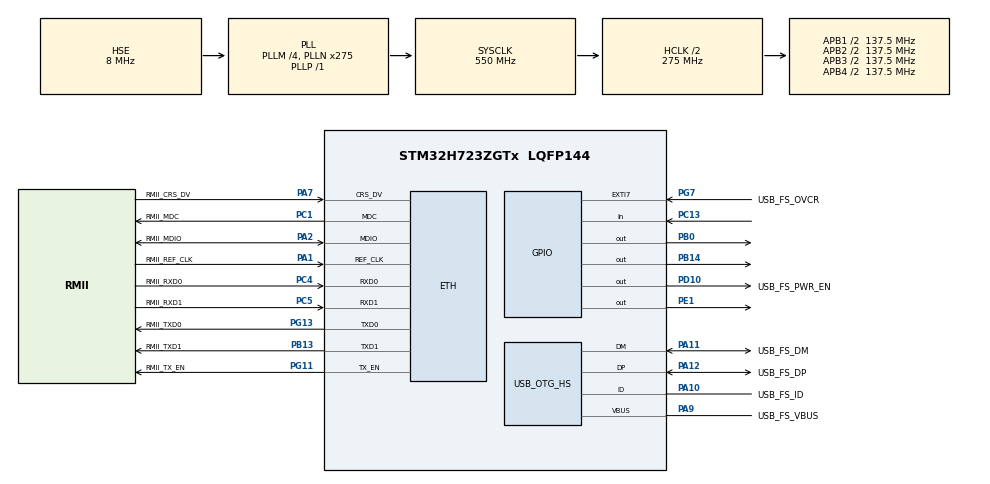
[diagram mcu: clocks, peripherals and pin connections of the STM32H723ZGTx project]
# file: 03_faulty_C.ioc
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CORTEX_M7.AccessPermission_S-Cortex_Memory_Protection_Unit_Region1_Settings_S=MPU_REGION_FULL_ACCESS
CORTEX_M7.AccessPermission_S-Cortex_Memory_Protection_Unit_Region2_Settings_S=MPU_REGION_FULL_ACCESS
CORTEX_M7.BaseAddress_S-Cortex_Memory_Protection_Unit_Region1_Settings_S=0x30000000
CORTEX_M7.BaseAddress_S-Cortex_Memory_Protection_Unit_Region2_Settings_S=0x30000000
CORTEX_M7.CPU_DCache=Enabled
CORTEX_M7.CPU_ICache=Enabled
CORTEX_M7.DisableExec_S-Cortex_Memory_Protection_Unit_Region1_Settings_S=MPU_INSTRUCTION_ACCESS_DISABLE
CORTEX_M7.DisableExec_S-Cortex_Memory_Protection_Unit_Region2_Settings_S=MPU_INSTRUCTION_ACCESS_DISABLE
CORTEX_M7.Enable_S-Cortex_Memory_Protection_Unit_Region1_Settings_S=MPU_REGION_ENABLE
CORTEX_M7.Enable_S-Cortex_Memory_Protection_Unit_Region2_Settings_S=MPU_REGION_ENABLE
CORTEX_M7.IsBufferable_S-Cortex_Memory_Protection_Unit_Region1_Settings_S=MPU_ACCESS_NOT_BUFFERABLE
CORTEX_M7.IsBufferable_S-Cortex_Memory_Protection_Unit_Region2_Settings_S=MPU_ACCESS_BUFFERABLE
CORTEX_M7.IsCacheable_S-Cortex_Memory_Protection_Unit_Region1_Settings_S=MPU_ACCESS_NOT_CACHEABLE
CORTEX_M7.IsCacheable_S-Cortex_Memory_Protection_Unit_Region2_Settings_S=MPU_ACCESS_NOT_CACHEABLE
CORTEX_M7.IsShareable_S-Cortex_Memory_Protection_Unit_Region1_Settings_S=MPU_ACCESS_NOT_SHAREABLE
CORTEX_M7.IsShareable_S-Cortex_Memory_Protection_Unit_Region2_Settings_S=MPU_ACCESS_SHAREABLE
CORTEX_M7.Size_S-Cortex_Memory_Protection_Unit_Region1_Settings_S=MPU_REGION_SIZE_32KB
CORTEX_M7.Size_S-Cortex_Memory_Protection_Unit_Region2_Settings_S=MPU_REGION_SIZE_1KB
CORTEX_M7.TypeExtField_S-Cortex_Memory_Protection_Unit_Region1_Settings_S=MPU_TEX_LEVEL1
CORTEX_M7.TypeExtField_S-Cortex_Memory_Protection_Unit_Region2_Settings_S=MPU_TEX_LEVEL0
CORTEX_M7.default_mode_Activation=1
DTS.SamplingTime=DTS_SMP_TIME_15_CYCLE
ETH.MACAddr=02\:00\:00\:11\:22\:33
ETH.MediaInterface=HAL_ETH_RMII_MODE
ETH.RxBufferAddress=0x30000400
ETH.RxBuffLen=1536
ETH.RxDescAddress=0x30000000
ETH.TxDescAddress=0x30000200
FREERTOS.Tasks01=defaultTask,24,1024,StartDefaultTask,Default,NULL,Dynamic,NULL,NULL
FREERTOS.configCHECK_FOR_STACK_OVERFLOW=2
FREERTOS.configMINIMAL_STACK_SIZE=256
FREERTOS.configTOTAL_HEAP_SIZE=48*1024
FREERTOS.configUSE_NEWLIB_REENTRANT=1
LWIP.BSP.number=1
LWIP.CHECKSUM_BY_HARDWARE=1
LWIP.DEFAULT_THREAD_STACKSIZE=1024
LWIP.GATEWAY_ADDRESS=192.168.077.001
LWIP.HTTPD_USE_CUSTOM_FSDATA=1
LWIP.IP_ADDRESS=192.168.077.020
LWIP.LWIP_DHCP=0
LWIP.LWIP_HTTPD=1
LWIP.LWIP_HTTPD_CGI=1
LWIP.LWIP_HTTPD_DYNAMIC_HEADERS=1
LWIP.LWIP_HTTPD_SSI=1
LWIP.LWIP_NETIF_LINK_CALLBACK=1
LWIP.LWIP_RAM_HEAP_POINTER=0x30005400
LWIP.LWIP_STATS=1
LWIP.MEM_SIZE=10240
LWIP.NETMASK_ADDRESS=255.255.255.000
LWIP.TCPIP_THREAD_STACKSIZE=2048
LWIP.TCP_MSS=1460
LWIP.TCP_SND_BUF=5840
LWIP.TCP_SND_QUEUELEN=16
LWIP.TCP_WND=5840
LWIP.Version=v2.2.1_Cube
LWIP0.BSP.STBoard=false
LWIP0.BSP.api=BSP_COMPONENT_DRIVER
LWIP0.BSP.component=LAN8742
LWIP0.BSP.instance=LAN8742
LWIP0.BSP.name=Driver_PHY
LWIP0.BSP.semaphore=S_LAN8742
LWIP0.BSP.solution=LAN8742
Mcu.Family=STM32H7
Mcu.Name=STM32H723ZGTx
Mcu.Package=LQFP144
NUCLEO-H723ZG.BUTTON=1
NUCLEO-H723ZG.LD1=true
NUCLEO-H723ZG.LD2=true
NUCLEO-H723ZG.LD3=true
NUCLEO-H723ZG.VCP=true
NVIC.ETH_IRQn=true\:5\:0\:false\:false\:true\:true\:true\:true\:true
NVIC.EXTI15_10_IRQn=true\:5\:0\:false\:false\:true\:false\:true\:true\:true
NVIC.PriorityGroup=NVIC_PRIORITYGROUP_4
NVIC.TIM6_DAC_IRQn=true\:15\:0\:false\:false\:true\:false\:false\:true\:true
NVIC.TimeBase=TIM6_DAC_IRQn
NVIC.TimeBaseIP=TIM6
PA1.GPIO_Label=RMII_REF_CLK
PA1.GPIO_Speed=GPIO_SPEED_FREQ_VERY_HIGH
PA1.Mode=RMII
PA1.Signal=ETH_REF_CLK
PA10.GPIO_Label=USB_FS_ID
PA10.Mode=OTG/Dual_Role_Device_FS
PA10.Signal=USB_OTG_HS_ID
PA11.GPIO_Label=USB_FS_DM
PA11.Mode=OTG/Dual_Role_Device_FS
PA11.Signal=USB_OTG_HS_DM
PA12.GPIO_Label=USB_FS_DP
PA12.Mode=OTG/Dual_Role_Device_FS
PA12.Signal=USB_OTG_HS_DP
PA13(JTMS/SWDIO).GPIO_Label=SWDIO
PA13(JTMS/SWDIO).Mode=Trace_Asynchronous_SW
PA13(JTMS/SWDIO).Signal=DEBUG_JTMS-SWDIO
PA14(JTCK/SWCLK).GPIO_Label=SWCLK
PA14(JTCK/SWCLK).Mode=Trace_Asynchronous_SW
PA14(JTCK/SWCLK).Signal=DEBUG_JTCK-SWCLK
PA2.GPIO_Label=RMII_MDIO
PA2.GPIO_Speed=GPIO_SPEED_FREQ_VERY_HIGH
PA2.Mode=RMII
PA2.Signal=ETH_MDIO
PA7.GPIO_Label=RMII_CRS_DV
PA7.GPIO_Speed=GPIO_SPEED_FREQ_VERY_HIGH
PA7.Mode=RMII
PA7.Signal=ETH_CRS_DV
PA9.GPIO_Label=USB_FS_VBUS
PA9.Mode=Activate_VBUS_FS
PA9.Signal=USB_OTG_HS_VBUS
PB0.Signal=GPIO_Output
PB13.GPIO_Label=RMII_TXD1
PB13.GPIO_Speed=GPIO_SPEED_FREQ_VERY_HIGH
PB13.Mode=RMII
PB13.Signal=ETH_TXD1
PB14.Signal=GPIO_Output
PB3(JTDO/TRACESWO).GPIO_Label=SWO
PB3(JTDO/TRACESWO).Mode=Trace_Asynchronous_SW
PB3(JTDO/TRACESWO).Signal=DEBUG_JTDO-SWO
PC1.GPIO_Label=RMII_MDC
PC1.GPIO_Speed=GPIO_SPEED_FREQ_VERY_HIGH
PC1.Mode=RMII
PC1.Signal=ETH_MDC
PC13.Signal=GPIO_Input
PC14-OSC32_IN.Mode=LSE-External-Oscillator
PC14-OSC32_IN.Signal=RCC_OSC32_IN
PC15-OSC32_OUT.Mode=LSE-External-Oscillator
PC15-OSC32_OUT.Signal=RCC_OSC32_OUT
PC4.GPIO_Label=RMII_RXD0
PC4.GPIO_Speed=GPIO_SPEED_FREQ_VERY_HIGH
PC4.Mode=RMII
PC4.Signal=ETH_RXD0
PC5.GPIO_Label=RMII_RXD1
PC5.GPIO_Speed=GPIO_SPEED_FREQ_VERY_HIGH
PC5.Mode=RMII
PC5.Signal=ETH_RXD1
PD10.GPIO_Label=USB_FS_PWR_EN
PD10.Signal=GPIO_Output
PD8.Signal=USART3_TX
PD9.Signal=USART3_RX
PE1.Signal=GPIO_Output
PG11.GPIO_Label=RMII_TX_EN
PG11.GPIO_Speed=GPIO_SPEED_FREQ_VERY_HIGH
PG11.Mode=RMII
PG11.Signal=ETH_TX_EN
PG13.GPIO_Label=RMII_TXD0
PG13.GPIO_Speed=GPIO_SPEED_FREQ_VERY_HIGH
PG13.Mode=RMII
PG13.Signal=ETH_TXD0
PG7.GPIO_Label=USB_FS_OVCR
PG7.Signal=GPXTI7
PH0-OSC_IN.GPIO_Label=MCO
PH0-OSC_IN.Mode=HSE-External-Clock-Source
PH0-OSC_IN.Signal=RCC_OSC_IN
PH1-OSC_OUT.Signal=RCC_OSC_OUT
ProjectManager.HeapSize=0x1000
ProjectManager.StackSize=0x1000
ProjectManager.TargetToolchain=STM32CubeIDE
RCC.ADCFreq_Value=76000000
RCC.APB1Freq_Value=137500000
RCC.APB2Freq_Value=137500000
RCC.APB3Freq_Value=137500000
RCC.APB4Freq_Value=137500000
RCC.CortexFreq_Value=550000000
RCC.D1PPRE=RCC_APB3_DIV2
RCC.D2PPRE1=RCC_APB1_DIV2
RCC.D2PPRE2=RCC_APB2_DIV2
RCC.D3PPRE=RCC_APB4_DIV2
RCC.DIVM1=4
RCC.DIVM2=1
RCC.DIVN1=275
RCC.DIVN2=19
RCC.DIVP1=1
RCC.DIVQ1=4
RCC.HCLKFreq_Value=275000000
RCC.HPRE=RCC_HCLK_DIV2
RCC.HSE_VALUE=8000000
RCC.PLLFRACN=0
RCC.PLLSourceVirtual=RCC_PLLSOURCE_HSE
RCC.SYSCLKFreq_VALUE=550000000
RCC.SYSCLKSource=RCC_SYSCLKSOURCE_PLLCLK
RCC.USBCLockSelection=RCC_USBCLKSOURCE_HSI48
RCC.USBFreq_Value=48000000
USB_OTG_HS.VirtualMode-OTG/Dual_Role_Device_FS=Device_Role_Device_FS
VP_DTS_VS-DTS.Mode=DTS
VP_FREERTOS_VS_CMSIS_V2.Mode=CMSIS_V2
VP_LWIP_VS_Enabled.Mode=Enabled
VP_NUCLEO-H723ZG_VS_BSP_COMMON.Mode=COMMON
VP_SYS_VS_tim6.Mode=TIM6
board=NUCLEO-H723ZG

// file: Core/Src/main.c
/* USER CODE BEGIN Header */
/**
  ******************************************************************************
  * @file           : main.c
  * @brief          : Main program body
  ******************************************************************************
  * @attention
  *
  * Copyright (c) 2026 STMicroelectronics.
  * All rights reserved.
  *
  * This software is licensed under terms that can be found in the LICENSE file
  * in the root directory of this software component.
  * If no LICENSE file comes with this software, it is provided AS-IS.
  *
  ******************************************************************************
  */
/* USER CODE END Header */
#include "main.h"
#include "FreeRTOS.h"
#include "cmsis_os2.h"
#include "lwip.h"

/* USER CODE BEGIN Includes */
#include <stdio.h>
#include <string.h>
#include "app_rtos.h"
#include "lwip/netif.h"
#include "lwip/stats.h"
#include "lwip/memp.h"
#include "ethernetif.h"
/* USER CODE END Includes */

COM_InitTypeDef BspCOMInit;

DTS_HandleTypeDef hdts;

PCD_HandleTypeDef hpcd_USB_OTG_HS;

/* Definitions for defaultTask */
osThreadId_t defaultTaskHandle;
const osThreadAttr_t defaultTask_attributes = {
  .name = "defaultTask",
  .stack_size = 1024 * 4,
  .priority = (osPriority_t) osPriorityNormal,
};
/* USER CODE BEGIN PV */
static volatile uint8_t led_manual;     /* CGI 'LED ON/OFF'를 받으면 1 → LD1 점멸 중지 */
static volatile uint8_t stat_req;       /* USER 버튼(B1) → 진단 정보 출력 */
extern ETH_HandleTypeDef heth;          /* ethernetif.c */
extern struct netif gnetif;             /* lwip.c */
extern const struct memp_desc memp_RX_POOL;   /* ethernetif.c: LWIP_MEMPOOL_DECLARE(RX_POOL, ...) */
/* USER CODE END PV */

void SystemClock_Config(void);
static void MPU_Config(void);
static void MX_GPIO_Init(void);
static void MX_USB_OTG_HS_PCD_Init(void);
static void MX_DTS_Init(void);
void StartDefaultTask(void *argument);

/* USER CODE BEGIN 0 */
int32_t read_temp_mC(void)
{
  int32_t t = 0;
  if (HAL_DTS_GetTemperature(&hdts, &t) != HAL_OK) { return INT32_MIN; }
  return t * 1000;
}

void app_led(uint8_t on)
{
  led_manual = 1U;
  if (on) { BSP_LED_On(LED_GREEN); } else { BSP_LED_Off(LED_GREEN); }
}

int app_link_str(char *out, size_t len)
{
  ETH_MACConfigTypeDef mc;
  if (!netif_is_link_up(&gnetif)) { return snprintf(out, len, "DOWN"); }
  HAL_ETH_GetMACConfig(&heth, &mc);
  return snprintf(out, len, "%s%s", (mc.Speed == ETH_SPEED_100M) ? "100" : "10",
                  (mc.DuplexMode == ETH_FULLDUPLEX_MODE) ? "F" : "H");
}

void BSP_PB_Callback(Button_TypeDef Button)
{
  if (Button == BUTTON_USER) { stat_req = 1U; }
}

/* 결함 진단용: 이론 4 '레지스터 5개' + lwIP 통계 */
static void print_diag(void)
{
  uint32_t csr = ETH->DMACSR, dsr = ETH->DMADSR;
  printf("--- diag @%lus ---\r\n", (unsigned long)(HAL_GetTick() / 1000U));
  printf("ETH_DMACSR=0x%08lX (RI=%lu RBU=%lu FBE=%lu)  ETH_DMADSR=0x%08lX (RPS0=%lu TPS0=%lu)\r\n",
         csr, (csr >> 6) & 1U, (csr >> 7) & 1U, (csr >> 12) & 1U, dsr, (dsr >> 8) & 0xFU, (dsr >> 12) & 0xFU);
  printf("ETH_MACCR=0x%08lX (FES=%lu DM=%lu)\r\n", ETH->MACCR, (ETH->MACCR >> 14) & 1U, (ETH->MACCR >> 13) & 1U);
#if MEMP_STATS
  printf("RX_POOL used=%u/%u err=%u   NETBUF used=%u err=%u\r\n",
         (unsigned)memp_RX_POOL.stats->used, (unsigned)memp_RX_POOL.num, (unsigned)memp_RX_POOL.stats->err,
         (unsigned)lwip_stats.memp[MEMP_NETBUF]->used, (unsigned)lwip_stats.memp[MEMP_NETBUF]->err);
#endif
#if MEM_STATS
  printf("heap used=%u max=%u err=%u (MEM_SIZE %u @0x%08lX)\r\n", (unsigned)lwip_stats.mem.used,
         (unsigned)lwip_stats.mem.max, (unsigned)lwip_stats.mem.err, (unsigned)MEM_SIZE,
         (unsigned long)LWIP_RAM_HEAP_POINTER);
#endif
  printf("FreeRTOS heap free=%u (min %u)\r\n", (unsigned)xPortGetFreeHeapSize(),
         (unsigned)xPortGetMinimumEverFreeHeapSize());
}
/* USER CODE END 0 */

int main(void)
{

  /* MPU Configuration--------------------------------------------------------*/
  MPU_Config();

  /* Enable the CPU Cache */

  /* Enable I-Cache---------------------------------------------------------*/
  SCB_EnableICache();

  /* Enable D-Cache---------------------------------------------------------*/
  SCB_EnableDCache();

  /* MCU Configuration--------------------------------------------------------*/

  /* Reset of all peripherals, Initializes the Flash interface and the Systick. */
  HAL_Init();

  /* Configure the system clock */
  SystemClock_Config();

  /* Initialize all configured peripherals */
  MX_GPIO_Init();
  MX_USB_OTG_HS_PCD_Init();
  MX_DTS_Init();

  /* Init scheduler */
  osKernelInitialize();

  /* Create the thread(s) */
  /* creation of defaultTask */
  defaultTaskHandle = osThreadNew(StartDefaultTask, NULL, &defaultTask_attributes);

  /* Initialize leds */
  BSP_LED_Init(LED_GREEN);
  BSP_LED_Init(LED_YELLOW);
  BSP_LED_Init(LED_RED);

  /* Initialize USER push-button, will be used to trigger an interrupt each time it's pressed.*/
  BSP_PB_Init(BUTTON_USER, BUTTON_MODE_EXTI);

  /* Initialize COM1 port (115200, 8 bits (7-bit data + 1 stop bit), no parity */
  BspCOMInit.BaudRate   = 115200;
  BspCOMInit.WordLength = COM_WORDLENGTH_8B;
  BspCOMInit.StopBits   = COM_STOPBITS_1;
  BspCOMInit.Parity     = COM_PARITY_NONE;
  BspCOMInit.HwFlowCtl  = COM_HWCONTROL_NONE;
  if (BSP_COM_Init(COM1, &BspCOMInit) != BSP_ERROR_NONE)
  {
    Error_Handler();
  }

  /* Start scheduler */
  osKernelStart();

  /* We should never get here as control is now taken by the scheduler */

  /* Infinite loop */
  while (1)
  {

  }
}

void SystemClock_Config(void)
{
  RCC_OscInitTypeDef RCC_OscInitStruct = {0};
  RCC_ClkInitTypeDef RCC_ClkInitStruct = {0};

  /** Supply configuration update enable
  */
  HAL_PWREx_ConfigSupply(PWR_LDO_SUPPLY);

  /** Configure the main internal regulator output voltage
  */
  __HAL_PWR_VOLTAGESCALING_CONFIG(PWR_REGULATOR_VOLTAGE_SCALE0);

  while(!__HAL_PWR_GET_FLAG(PWR_FLAG_VOSRDY)) {}

  /** Initializes the RCC Oscillators according to the specified parameters
  * in the RCC_OscInitTypeDef structure.
  */
  RCC_OscInitStruct.OscillatorType = RCC_OSCILLATORTYPE_HSI48|RCC_OSCILLATORTYPE_HSE;
  RCC_OscInitStruct.HSEState = RCC_HSE_BYPASS;
  RCC_OscInitStruct.HSI48State = RCC_HSI48_ON;
  RCC_OscInitStruct.PLL.PLLState = RCC_PLL_ON;
  RCC_OscInitStruct.PLL.PLLSource = RCC_PLLSOURCE_HSE;
  RCC_OscInitStruct.PLL.PLLM = 4;
  RCC_OscInitStruct.PLL.PLLN = 275;
  RCC_OscInitStruct.PLL.PLLP = 1;
  RCC_OscInitStruct.PLL.PLLQ = 4;
  RCC_OscInitStruct.PLL.PLLR = 2;
  RCC_OscInitStruct.PLL.PLLRGE = RCC_PLL1VCIRANGE_1;
  RCC_OscInitStruct.PLL.PLLVCOSEL = RCC_PLL1VCOWIDE;
  RCC_OscInitStruct.PLL.PLLFRACN = 0;
  if (HAL_RCC_OscConfig(&RCC_OscInitStruct) != HAL_OK)
  {
    Error_Handler();
  }

  /** Initializes the CPU, AHB and APB buses clocks
  */
  RCC_ClkInitStruct.ClockType = RCC_CLOCKTYPE_HCLK|RCC_CLOCKTYPE_SYSCLK
                              |RCC_CLOCKTYPE_PCLK1|RCC_CLOCKTYPE_PCLK2
                              |RCC_CLOCKTYPE_D3PCLK1|RCC_CLOCKTYPE_D1PCLK1;
  RCC_ClkInitStruct.SYSCLKSource = RCC_SYSCLKSOURCE_PLLCLK;
  RCC_ClkInitStruct.SYSCLKDivider = RCC_SYSCLK_DIV1;
  RCC_ClkInitStruct.AHBCLKDivider = RCC_HCLK_DIV2;
  RCC_ClkInitStruct.APB3CLKDivider = RCC_APB3_DIV2;
  RCC_ClkInitStruct.APB1CLKDivider = RCC_APB1_DIV2;
  RCC_ClkInitStruct.APB2CLKDivider = RCC_APB2_DIV2;
  RCC_ClkInitStruct.APB4CLKDivider = RCC_APB4_DIV2;

  if (HAL_RCC_ClockConfig(&RCC_ClkInitStruct, FLASH_LATENCY_3) != HAL_OK)
  {
    Error_Handler();
  }
}

static void MX_DTS_Init(void)
{

  hdts.Instance = DTS;
  hdts.Init.QuickMeasure = DTS_QUICKMEAS_DISABLE;
  hdts.Init.RefClock = DTS_REFCLKSEL_PCLK;
  hdts.Init.TriggerInput = DTS_TRIGGER_HW_NONE;
  hdts.Init.SamplingTime = DTS_SMP_TIME_15_CYCLE;
  hdts.Init.Divider = 1;
  hdts.Init.HighThreshold = 0x0;
  hdts.Init.LowThreshold = 0x0;
  if (HAL_DTS_Init(&hdts) != HAL_OK)
  {
    Error_Handler();
  }
  /* USER CODE BEGIN DTS_Init 2 */
  if (HAL_DTS_Start(&hdts) != HAL_OK)     /* 트리거 없음 → 연속 측정 시작 */
  {
    Error_Handler();
  }
  /* USER CODE END DTS_Init 2 */

}

static void MX_USB_OTG_HS_PCD_Init(void)
{

  hpcd_USB_OTG_HS.Instance = USB_OTG_HS;
  hpcd_USB_OTG_HS.Init.dev_endpoints = 9;
  hpcd_USB_OTG_HS.Init.speed = PCD_SPEED_FULL;
  hpcd_USB_OTG_HS.Init.dma_enable = DISABLE;
  hpcd_USB_OTG_HS.Init.phy_itface = USB_OTG_EMBEDDED_PHY;
  hpcd_USB_OTG_HS.Init.Sof_enable = DISABLE;
  hpcd_USB_OTG_HS.Init.low_power_enable = DISABLE;
  hpcd_USB_OTG_HS.Init.lpm_enable = DISABLE;
  hpcd_USB_OTG_HS.Init.vbus_sensing_enable = ENABLE;
  hpcd_USB_OTG_HS.Init.use_dedicated_ep1 = DISABLE;
  hpcd_USB_OTG_HS.Init.use_external_vbus = DISABLE;
  if (HAL_PCD_Init(&hpcd_USB_OTG_HS) != HAL_OK)
  {
    Error_Handler();
  }

}

static void MX_GPIO_Init(void)
{
  GPIO_InitTypeDef GPIO_InitStruct = {0};

  /* GPIO Ports Clock Enable */
  __HAL_RCC_GPIOC_CLK_ENABLE();
  __HAL_RCC_GPIOH_CLK_ENABLE();
  __HAL_RCC_GPIOA_CLK_ENABLE();
  __HAL_RCC_GPIOB_CLK_ENABLE();
  __HAL_RCC_GPIOD_CLK_ENABLE();
  __HAL_RCC_GPIOG_CLK_ENABLE();

  /*Configure GPIO pin Output Level */
  HAL_GPIO_WritePin(USB_FS_PWR_EN_GPIO_Port, USB_FS_PWR_EN_Pin, GPIO_PIN_RESET);

  /*Configure GPIO pin : USB_FS_PWR_EN_Pin */
  GPIO_InitStruct.Pin = USB_FS_PWR_EN_Pin;
  GPIO_InitStruct.Mode = GPIO_MODE_OUTPUT_PP;
  GPIO_InitStruct.Pull = GPIO_NOPULL;
  GPIO_InitStruct.Speed = GPIO_SPEED_FREQ_LOW;
  HAL_GPIO_Init(USB_FS_PWR_EN_GPIO_Port, &GPIO_InitStruct);

  /*Configure GPIO pin : USB_FS_OVCR_Pin */
  GPIO_InitStruct.Pin = USB_FS_OVCR_Pin;
  GPIO_InitStruct.Mode = GPIO_MODE_IT_RISING;
  GPIO_InitStruct.Pull = GPIO_NOPULL;
  HAL_GPIO_Init(USB_FS_OVCR_GPIO_Port, &GPIO_InitStruct);

}

void StartDefaultTask(void *argument)
{
  /* init code for LWIP */
  MX_LWIP_Init();
  /* USER CODE BEGIN 5 */
  printf("\r\n=== Hands-on 3: FreeRTOS + lwIP (netconn / httpd) %s===\r\n",
         "[faulty C] ");
  printf("IP %s  echo :%u  http :80  (B1 = diag)\r\n", ip4addr_ntoa(netif_ip4_addr(&gnetif)), (unsigned)ECHO_PORT);

  const osThreadAttr_t srv_attr = { .name = "server", .stack_size = 1024 * 4, .priority = osPriorityNormal };
  osThreadNew(server_task, NULL, &srv_attr);          /* Step 1: 에코 서버 */
  web_init();                                         /* Step 2: httpd + SSI/CGI */
#if APP_USE_MQTT
  const osThreadAttr_t mq_attr = { .name = "mqtt", .stack_size = 1024 * 4, .priority = osPriorityBelowNormal };
  osThreadNew(mqtt_task, NULL, &mq_attr);             /* Step 3 (선택) */
#endif

  uint8_t link_prev = 0xFFU;
  uint32_t t_led = 0;
  /* Infinite loop */
  for(;;)
  {
    uint8_t up = netif_is_link_up(&gnetif) ? 1U : 0U;
    if (up != link_prev)                               /* 링크 변화는 여기서 출력 (EthLink 스레드 스택이 작음) */
    {
      char s[8];
      app_link_str(s, sizeof s);
      printf("Link %s\r\n", up ? s : "DOWN");
      link_prev = up;
      if (up) { BSP_LED_On(LED_YELLOW); } else { BSP_LED_Off(LED_YELLOW); }   /* LD2 = 링크 */
    }
    if ((HAL_GetTick() - t_led) >= 500U)
    {
      t_led = HAL_GetTick();
      if (!led_manual) { BSP_LED_Toggle(LED_GREEN); }  /* LD1 점멸 = 스케줄러 동작 중 */
    }
    if (stat_req) { stat_req = 0U; print_diag(); }
    osDelay(50);
  }
  /* USER CODE END 5 */
}

 /* MPU Configuration */

void MPU_Config(void)
{
  MPU_Region_InitTypeDef MPU_InitStruct = {0};

  /* Disables the MPU */
  HAL_MPU_Disable();

  /** Initializes and configures the Region and the memory to be protected
  */
  MPU_InitStruct.Enable = MPU_REGION_ENABLE;
  MPU_InitStruct.Number = MPU_REGION_NUMBER0;
  MPU_InitStruct.BaseAddress = 0x0;
  MPU_InitStruct.Size = MPU_REGION_SIZE_4GB;
  MPU_InitStruct.SubRegionDisable = 0x87;
  MPU_InitStruct.TypeExtField = MPU_TEX_LEVEL0;
  MPU_InitStruct.AccessPermission = MPU_REGION_NO_ACCESS;
  MPU_InitStruct.DisableExec = MPU_INSTRUCTION_ACCESS_DISABLE;
  MPU_InitStruct.IsShareable = MPU_ACCESS_SHAREABLE;
  MPU_InitStruct.IsCacheable = MPU_ACCESS_NOT_CACHEABLE;
  MPU_InitStruct.IsBufferable = MPU_ACCESS_NOT_BUFFERABLE;

  HAL_MPU_ConfigRegion(&MPU_InitStruct);

  /** Initializes and configures the Region and the memory to be protected
  */
  MPU_InitStruct.Number = MPU_REGION_NUMBER1;
  MPU_InitStruct.BaseAddress = 0x30000000;
  MPU_InitStruct.Size = MPU_REGION_SIZE_32KB;
  MPU_InitStruct.SubRegionDisable = 0x0;
  MPU_InitStruct.TypeExtField = MPU_TEX_LEVEL1;
  MPU_InitStruct.AccessPermission = MPU_REGION_FULL_ACCESS;
  MPU_InitStruct.IsShareable = MPU_ACCESS_NOT_SHAREABLE;

  HAL_MPU_ConfigRegion(&MPU_InitStruct);

  /** Initializes and configures the Region and the memory to be protected
  */
  MPU_InitStruct.Number = MPU_REGION_NUMBER2;
  MPU_InitStruct.Size = MPU_REGION_SIZE_1KB;
  MPU_InitStruct.TypeExtField = MPU_TEX_LEVEL0;
  MPU_InitStruct.IsShareable = MPU_ACCESS_SHAREABLE;
  MPU_InitStruct.IsBufferable = MPU_ACCESS_BUFFERABLE;

  HAL_MPU_ConfigRegion(&MPU_InitStruct);
  /* Enables the MPU */
  HAL_MPU_Enable(MPU_PRIVILEGED_DEFAULT);

}

void HAL_TIM_PeriodElapsedCallback(TIM_HandleTypeDef *htim)
{
  if (htim->Instance == TIM6)
  {
    HAL_IncTick();
  }
}

void Error_Handler(void)
{
  __disable_irq();
  while (1)
  {
  }
}
